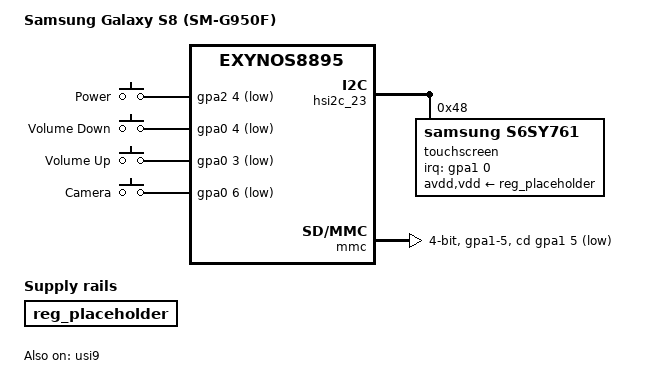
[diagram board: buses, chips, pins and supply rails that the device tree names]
// SPDX-License-Identifier: GPL-2.0 OR BSD-3-Clause
/*
 * Samsung Galaxy S8 (dreamlte/SM-G950F) device tree source
 *
 * Copyright (c) 2024, Ivaylo Ivanov <ivo.ivanov.ivanov1@gmail.com>
 */

/dts-v1/;
#include "exynos8895.dtsi"
#include <dt-bindings/gpio/gpio.h>
#include <dt-bindings/input/input.h>
#include <dt-bindings/interrupt-controller/irq.h>
#include <dt-bindings/soc/samsung,exynos-usi.h>

/ {
	model = "Samsung Galaxy S8 (SM-G950F)";
	compatible = "samsung,dreamlte", "samsung,exynos8895";
	chassis-type = "handset";

	aliases {
		mmc0 = &mmc;
	};

	chosen {
		#address-cells = <2>;
		#size-cells = <1>;
		ranges;

		framebuffer: framebuffer@cc000000 {
			compatible = "simple-framebuffer";
			reg = <0 0xcc000000 (1440 * 2960 * 4)>;
			width = <1440>;
			height = <2960>;
			stride = <(1440 * 4)>;
			format = "a8r8g8b8";
		};
	};

	memory@80000000 {
		device_type = "memory";
		reg = <0x0 0x80000000 0x3c800000>,
		      <0x0 0xc0000000 0x40000000>,
		      <0x8 0x80000000 0x80000000>;
	};

	reserved-memory {
		#address-cells = <2>;
		#size-cells = <1>;
		ranges;

		ramoops@92000000 {
			compatible = "ramoops";
			reg = <0 0x92000000 0x8000>;
			record-size = <0x4000>;
			console-size = <0x4000>;
		};

		cont_splash_mem: framebuffer@cc000000 {
			reg = <0 0xcc000000 (1440 * 2960 * 4)>;
			no-map;
		};
	};

	gpio-keys {
		compatible = "gpio-keys";

		pinctrl-0 = <&key_power &key_voldown &key_volup &key_wink>;
		pinctrl-names = "default";

		power-key {
			label = "Power";
			linux,code = <KEY_POWER>;
			gpios = <&gpa2 4 GPIO_ACTIVE_LOW>;
			wakeup-source;
		};

		voldown-key {
			label = "Volume Down";
			linux,code = <KEY_VOLUMEDOWN>;
			gpios = <&gpa0 4 GPIO_ACTIVE_LOW>;
		};

		volup-key {
			label = "Volume Up";
			linux,code = <KEY_VOLUMEUP>;
			gpios = <&gpa0 3 GPIO_ACTIVE_LOW>;
		};

		/* Typically used for Bixby. Map it as a camera button for now */
		wink-key {
			label = "Camera";
			linux,code = <KEY_CAMERA>;
			gpios = <&gpa0 6 GPIO_ACTIVE_LOW>;
			wakeup-source;
		};
	};

	/* TODO: Remove once PMIC is implemented  */
	reg_placeholder: regulator-0 {
		compatible = "regulator-fixed";
		regulator-name = "reg-placeholder";
	};
};

&hsi2c_23 {
	#address-cells = <1>;
	#size-cells = <0>;
	status = "okay";

	touchscreen@48 {
		compatible = "samsung,s6sy761";
		reg = <0x48>;

		/* TODO: Update once PMIC is implemented */
		avdd-supply = <&reg_placeholder>;
		vdd-supply = <&reg_placeholder>;

		interrupt-parent = <&gpa1>;
		interrupts = <0 IRQ_TYPE_LEVEL_LOW>;

		pinctrl-0 = <&ts_int>;
		pinctrl-names = "default";
	};
};

&oscclk {
	clock-frequency = <26000000>;
};

&mmc {
	pinctrl-0 = <&sd2_clk &sd2_cmd &sd2_bus1 &sd2_bus4 &sd2_cd>;
	pinctrl-names = "default";

	bus-width = <4>;
	card-detect-delay = <200>;
	cd-gpios = <&gpa1 5 GPIO_ACTIVE_LOW>;
	clock-frequency = <800000000>;
	disable-wp;
	sd-uhs-sdr50;
	sd-uhs-sdr104;

	/* TODO: Add regulators once PMIC is implemented */

	samsung,dw-mshc-ciu-div = <3>;
	samsung,dw-mshc-ddr-timing = <1 2>;
	samsung,dw-mshc-sdr-timing = <0 3>;

	status = "okay";
};

&pinctrl_alive {
	key_power: key-power-pins {
		samsung,pins = "gpa2-4";
		samsung,pin-function = <EXYNOS_PIN_FUNC_EINT>;
		samsung,pin-pud = <EXYNOS_PIN_PULL_NONE>;
		samsung,pin-drv = <EXYNOS7_PIN_DRV_LV1>;
	};

	key_voldown: key-voldown-pins {
		samsung,pins = "gpa0-4";
		samsung,pin-function = <EXYNOS_PIN_FUNC_EINT>;
		samsung,pin-pud = <EXYNOS_PIN_PULL_NONE>;
		samsung,pin-drv = <EXYNOS7_PIN_DRV_LV1>;
	};

	key_volup: key-volup-pins {
		samsung,pins = "gpa0-3";
		samsung,pin-function = <EXYNOS_PIN_FUNC_EINT>;
		samsung,pin-pud = <EXYNOS_PIN_PULL_NONE>;
		samsung,pin-drv = <EXYNOS7_PIN_DRV_LV1>;
	};

	key_wink: key-wink-pins {
		samsung,pins = "gpa0-6";
		samsung,pin-function = <EXYNOS_PIN_FUNC_EINT>;
		samsung,pin-pud = <EXYNOS_PIN_PULL_NONE>;
		samsung,pin-drv = <EXYNOS7_PIN_DRV_LV1>;
	};

	sd2_cd: sd2-cd-pins {
		samsung,pins = "gpa1-5";
		samsung,pin-function = <EXYNOS_PIN_FUNC_EINT>;
		samsung,pin-pud = <EXYNOS_PIN_PULL_UP>;
		samsung,pin-drv = <EXYNOS7_PIN_DRV_LV4>;
	};

	ts_int: ts-int-pins {
		samsung,pins = "gpa1-0";
		samsung,pin-function = <EXYNOS_PIN_FUNC_EINT>;
		samsung,pin-pud = <EXYNOS_PIN_PULL_NONE>;
		samsung,pin-drv = <EXYNOS7_PIN_DRV_LV1>;
	};
};

&usi9 {
	samsung,mode = <USI_MODE_I2C0_1>;
	status = "okay";
};
